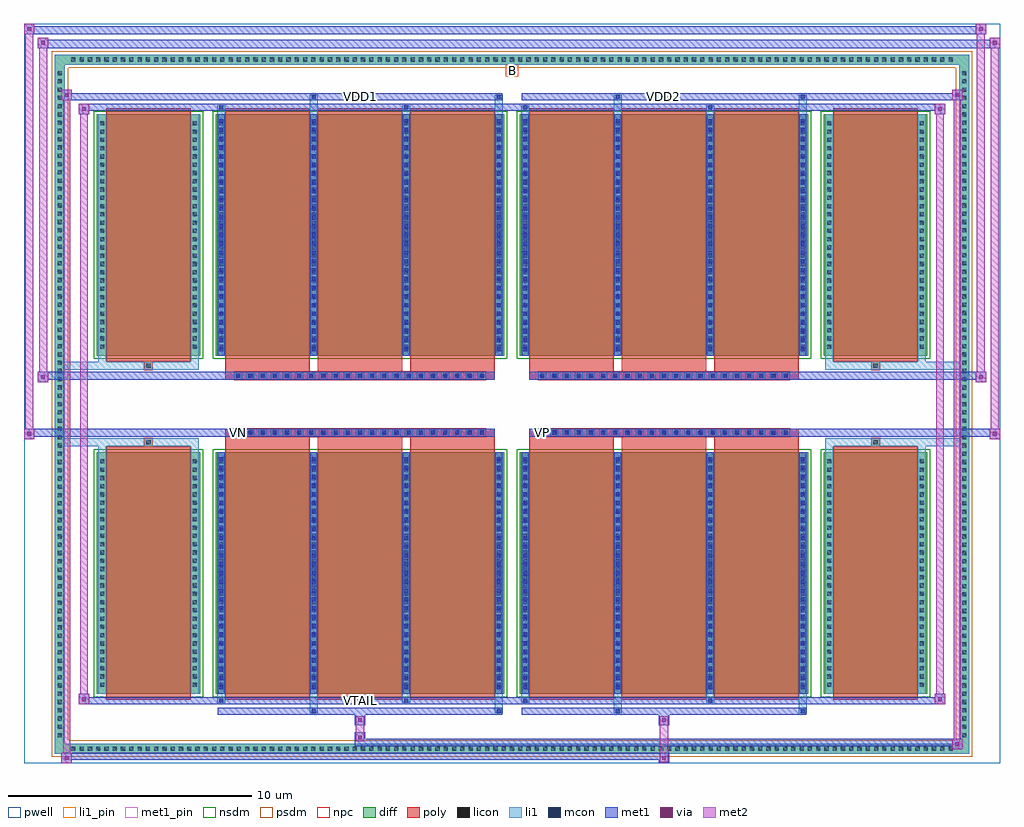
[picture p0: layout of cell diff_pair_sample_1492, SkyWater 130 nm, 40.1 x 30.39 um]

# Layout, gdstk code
import gdstk
lib = gdstk.Library(unit=1e-6, precision=5e-09)
def R(c, l, rs):  # rectangles x0, y0, x1, y1
    for r in rs: c.add(gdstk.rectangle(r[:2], r[2:], *l))
def A(c, l, x, y, w, h, nx, ny, dx, dy):  # array of equal rectangles
    R(c, l, [(x+i*dx, y+j*dy, x+i*dx+w, y+j*dy+h) for i in range(nx) for j in range(ny)])
def P(c, l, *ps):  # polygons
    for p in ps: c.add(gdstk.Polygon(p, *l))
pwell = (64, 44)
diff = (65, 20)
poly = (66, 20)
licon = (66, 44)
li1_pin = (67, 16)
li1 = (67, 20)
mcon = (67, 44)
met1_pin = (68, 16)
met1 = (68, 20)
via = (68, 44)
met2 = (69, 20)
nsdm = (93, 44)
psdm = (94, 20)
npc = (95, 20)

diff_pair_sample_1492 = lib.new_cell('diff_pair_sample_1492')
R(diff_pair_sample_1492, pwell, [(-20.05,-14.76,20.05,15.63), (-17.37,-12.95,-0.01,-0.805), (0.01,-12.95,17.37,-0.805), (-17.37,0.805,-0.01,12.95), (0.01,0.805,17.37,12.95)])
A(diff_pair_sample_1492, diff, -18.225, -14.36, 0.41, 0.41, 107, 2, 0.34, 28.31)
A(diff_pair_sample_1492, diff, -18.78, -13.805, 0.41, 0.41, 1, 81, 0, 0.34)
A(diff_pair_sample_1492, diff, 18.37, -13.805, 0.41, 0.41, 1, 81, 0, 0.34)
R(diff_pair_sample_1492, diff, [(-18.225,-14.36,18.225,-13.95), (-18.78,-13.805,-18.37,13.805), (18.37,-13.805,18.78,13.805), (-17.06,-11.905,-12.81,-1.985), (-12.17,-11.905,-0.32,-1.985), (0.32,-11.905,12.17,-1.985), (12.81,-11.905,17.06,-1.985), (-17.06,1.985,-12.81,11.905), (-12.17,1.985,-0.32,11.905), (0.32,1.985,12.17,11.905), (12.81,1.985,17.06,11.905), (-18.225,13.95,18.225,14.36)])
P(diff_pair_sample_1492, diff, [(18.78,14.36),(-18.78,14.36),(-18.78,-13.95),(-18.37,-13.95),(-18.37,13.95),(18.37,13.95),(18.37,-13.95),(-18.37,-13.95),(-18.78,-13.95),(-18.78,-14.36),(18.78,-14.36)])
A(diff_pair_sample_1492, poly, -11.78, -12.155, 3.47, 10.42, 3, 2, 3.8, 13.89)
A(diff_pair_sample_1492, poly, 0.71, -12.155, 3.47, 10.42, 3, 2, 3.8, 13.89)
A(diff_pair_sample_1492, poly, -11.78, -1.735, 3.47, 0.4, 3, 2, 3.8, 3.07)
A(diff_pair_sample_1492, poly, 0.71, -1.735, 3.47, 0.4, 3, 2, 3.8, 3.07)
A(diff_pair_sample_1492, poly, -11.41, -1.335, 0.33, 0.33, 21, 2, 0.5, 2.34)
A(diff_pair_sample_1492, poly, 1.08, -1.335, 0.33, 0.33, 21, 2, 0.5, 2.34)
R(diff_pair_sample_1492, poly, [(-16.67,-12.155,-13.2,-1.735), (13.2,-12.155,16.67,-1.735), (-15.1,-1.735,-14.77,-1.405), (-15.1,-1.735,-14.77,-1.405), (14.77,-1.735,15.1,-1.405), (14.77,-1.735,15.1,-1.405), (-11.78,-1.335,-0.71,-1.005), (0.71,-1.335,11.78,-1.005), (-11.78,1.005,-0.71,1.335), (0.71,1.005,11.78,1.335), (-15.1,1.405,-14.77,1.735), (-15.1,1.405,-14.77,1.735), (14.77,1.405,15.1,1.735), (14.77,1.405,15.1,1.735), (-16.67,1.735,-13.2,12.155), (13.2,1.735,16.67,12.155)])
A(diff_pair_sample_1492, licon, -18.105, -14.24, 0.17, 0.17, 107, 2, 0.34, 28.31)
A(diff_pair_sample_1492, licon, -18.66, -13.685, 0.17, 0.17, 1, 81, 0, 0.34)
A(diff_pair_sample_1492, licon, 18.49, -13.685, 0.17, 0.17, 1, 81, 0, 0.34)
A(diff_pair_sample_1492, licon, -16.92, -11.62, 0.17, 0.17, 1, 28, 0, 0.34)
A(diff_pair_sample_1492, licon, -13.12, -11.62, 0.17, 0.17, 1, 28, 0, 0.34)
A(diff_pair_sample_1492, licon, -12.03, -11.62, 0.17, 0.17, 4, 28, 3.8, 0.34)
A(diff_pair_sample_1492, licon, 0.46, -11.62, 0.17, 0.17, 4, 28, 3.8, 0.34)
A(diff_pair_sample_1492, licon, 12.95, -11.62, 0.17, 0.17, 1, 28, 0, 0.34)
A(diff_pair_sample_1492, licon, 16.75, -11.62, 0.17, 0.17, 1, 28, 0, 0.34)
A(diff_pair_sample_1492, licon, -11.33, -1.255, 0.17, 0.17, 21, 2, 0.5, 2.34)
A(diff_pair_sample_1492, licon, 1.16, -1.255, 0.17, 0.17, 21, 2, 0.5, 2.34)
A(diff_pair_sample_1492, licon, -16.92, 2.27, 0.17, 0.17, 1, 28, 0, 0.34)
A(diff_pair_sample_1492, licon, -13.12, 2.27, 0.17, 0.17, 1, 28, 0, 0.34)
A(diff_pair_sample_1492, licon, -12.03, 2.27, 0.17, 0.17, 4, 28, 3.8, 0.34)
A(diff_pair_sample_1492, licon, 0.46, 2.27, 0.17, 0.17, 4, 28, 3.8, 0.34)
A(diff_pair_sample_1492, licon, 12.95, 2.27, 0.17, 0.17, 1, 28, 0, 0.34)
A(diff_pair_sample_1492, licon, 16.75, 2.27, 0.17, 0.17, 1, 28, 0, 0.34)
R(diff_pair_sample_1492, licon, [(-15.02,-1.655,-14.85,-1.485), (14.85,-1.655,15.02,-1.485), (-15.02,1.485,-14.85,1.655), (14.85,1.485,15.02,1.655)])
R(diff_pair_sample_1492, li1_pin, [(-0.25,13.45,0.25,13.95)])
A(diff_pair_sample_1492, li1, -18.185, -14.32, 0.33, 0.33, 107, 2, 0.34, 28.31)
A(diff_pair_sample_1492, li1, -18.74, -13.765, 0.33, 0.33, 1, 81, 0, 0.34)
A(diff_pair_sample_1492, li1, 18.41, -13.765, 0.33, 0.33, 1, 81, 0, 0.34)
A(diff_pair_sample_1492, li1, -12.11, -11.905, 0.33, 9.92, 4, 2, 3.8, 13.89)
A(diff_pair_sample_1492, li1, 0.38, -11.905, 0.33, 9.92, 4, 2, 3.8, 13.89)
A(diff_pair_sample_1492, li1, -12.03, -11.71, 0.17, 0.17, 4, 27, 3.8, 0.36)
A(diff_pair_sample_1492, li1, -12.03, -11.71, 0.17, 9.53, 4, 2, 3.8, 13.89)
A(diff_pair_sample_1492, li1, 0.46, -11.71, 0.17, 0.17, 4, 27, 3.8, 0.36)
A(diff_pair_sample_1492, li1, 0.46, -11.71, 0.17, 9.53, 4, 2, 3.8, 13.89)
A(diff_pair_sample_1492, li1, -17, -11.7, 0.33, 0.33, 1, 28, 0, 0.34)
A(diff_pair_sample_1492, li1, -13.2, -11.7, 0.33, 0.33, 1, 28, 0, 0.34)
A(diff_pair_sample_1492, li1, -12.11, -11.7, 0.33, 0.33, 4, 28, 3.8, 0.34)
A(diff_pair_sample_1492, li1, 0.38, -11.7, 0.33, 0.33, 4, 28, 3.8, 0.34)
A(diff_pair_sample_1492, li1, 12.87, -11.7, 0.33, 0.33, 1, 28, 0, 0.34)
A(diff_pair_sample_1492, li1, 16.67, -11.7, 0.33, 0.33, 1, 28, 0, 0.34)
A(diff_pair_sample_1492, li1, -11.41, -1.335, 0.33, 0.33, 21, 2, 0.5, 2.34)
A(diff_pair_sample_1492, li1, 1.08, -1.335, 0.33, 0.33, 21, 2, 0.5, 2.34)
A(diff_pair_sample_1492, li1, -12.03, 2.18, 0.17, 0.17, 4, 27, 3.8, 0.36)
A(diff_pair_sample_1492, li1, 0.46, 2.18, 0.17, 0.17, 4, 27, 3.8, 0.36)
A(diff_pair_sample_1492, li1, -17, 2.19, 0.33, 0.33, 1, 28, 0, 0.34)
A(diff_pair_sample_1492, li1, -13.2, 2.19, 0.33, 0.33, 1, 28, 0, 0.34)
A(diff_pair_sample_1492, li1, -12.11, 2.19, 0.33, 0.33, 4, 28, 3.8, 0.34)
A(diff_pair_sample_1492, li1, 0.38, 2.19, 0.33, 0.33, 4, 28, 3.8, 0.34)
A(diff_pair_sample_1492, li1, 12.87, 2.19, 0.33, 0.33, 1, 28, 0, 0.34)
A(diff_pair_sample_1492, li1, 16.67, 2.19, 0.33, 0.33, 1, 28, 0, 0.34)
R(diff_pair_sample_1492, li1, [(-18.78,-14.36,-18.37,-13.95), (-18.78,-14.36,-18.37,-13.95), (-18.37,-14.36,18.37,-13.95), (18.37,-14.36,18.78,-13.95), (18.37,-14.36,18.78,-13.95), (-18.78,-13.95,-18.37,13.95), (18.37,-13.95,18.78,13.95), (-8.31,-12.71,-7.98,-11.905), (-8.23,-12.71,-8.06,-12.54), (-0.71,-12.71,-0.38,-11.905), (-0.63,-12.71,-0.46,-12.54), (4.18,-12.71,4.51,-11.905), (4.26,-12.71,4.43,-12.54), (11.78,-12.71,12.11,-11.905), (11.86,-12.71,12.03,-12.54), (-12.11,-12.28,-11.78,-11.905), (-12.03,-12.28,-11.86,-12.11), (-4.51,-12.28,-4.18,-11.905), (-4.43,-12.28,-4.26,-12.11), (0.38,-12.28,0.71,-11.905), (0.46,-12.28,0.63,-12.11), (7.98,-12.28,8.31,-11.905), (8.06,-12.28,8.23,-12.11), (-17,-11.905,-16.67,-1.985), (-13.2,-11.905,-12.87,-1.985), (12.87,-11.905,13.2,-1.985), (16.67,-11.905,17,-1.985), (-17,-1.985,-16.67,-1.405), (-13.2,-1.985,-12.87,-1.405), (12.87,-1.985,13.2,-1.405), (16.67,-1.985,17,-1.405), (-18.78,-1.735,-15.1,-1.405), (-17,-1.735,-15.1,-1.405), (-15.1,-1.735,-14.77,-1.405), (-14.77,-1.735,-12.87,-1.405), (12.87,-1.735,14.77,-1.405), (14.77,-1.735,15.1,-1.405), (14.77,-1.735,18.78,-1.405), (15.1,-1.735,17,-1.405), (-18.78,1.405,-15.1,1.735), (-17,1.405,-15.1,1.735), (-17,1.405,-16.67,1.985), (-15.1,1.405,-14.77,1.735), (-14.77,1.405,-12.87,1.735), (-13.2,1.405,-12.87,1.985), (12.87,1.405,14.77,1.735), (12.87,1.405,13.2,1.985), (14.77,1.405,15.1,1.735), (14.77,1.405,18.78,1.735), (15.1,1.405,17,1.735), (16.67,1.405,17,1.985), (-17,1.985,-16.67,11.905), (-13.2,1.985,-12.87,11.905), (12.87,1.985,13.2,11.905), (16.67,1.985,17,11.905), (-12.11,11.905,-11.78,12.28), (-8.31,11.905,-7.98,12.71), (-4.51,11.905,-4.18,12.28), (-0.71,11.905,-0.38,12.71), (0.38,11.905,0.71,12.28), (4.18,11.905,4.51,12.71), (7.98,11.905,8.31,12.28), (11.78,11.905,12.11,12.71), (-12.03,12.11,-11.86,12.28), (-4.43,12.11,-4.26,12.28), (0.46,12.11,0.63,12.28), (8.06,12.11,8.23,12.28), (-8.23,12.54,-8.06,12.71), (-0.63,12.54,-0.46,12.71), (4.26,12.54,4.43,12.71), (11.86,12.54,12.03,12.71), (-18.78,13.95,-18.37,14.36), (-18.78,13.95,-18.37,14.36), (-18.37,13.95,18.37,14.36), (18.37,13.95,18.78,14.36), (18.37,13.95,18.78,14.36)])
A(diff_pair_sample_1492, mcon, -12.03, -11.71, 0.17, 0.17, 4, 27, 3.8, 0.36)
A(diff_pair_sample_1492, mcon, 0.46, -11.71, 0.17, 0.17, 4, 27, 3.8, 0.36)
A(diff_pair_sample_1492, mcon, -11.33, -1.255, 0.17, 0.17, 21, 2, 0.5, 2.34)
A(diff_pair_sample_1492, mcon, 1.16, -1.255, 0.17, 0.17, 21, 2, 0.5, 2.34)
A(diff_pair_sample_1492, mcon, -12.03, 2.18, 0.17, 0.17, 4, 27, 3.8, 0.36)
A(diff_pair_sample_1492, mcon, 0.46, 2.18, 0.17, 0.17, 4, 27, 3.8, 0.36)
R(diff_pair_sample_1492, mcon, [(-8.23,-12.71,-8.06,-12.54), (-0.63,-12.71,-0.46,-12.54), (4.26,-12.71,4.43,-12.54), (11.86,-12.71,12.03,-12.54), (-12.03,-12.28,-11.86,-12.11), (-4.43,-12.28,-4.26,-12.11), (0.46,-12.28,0.63,-12.11), (8.06,-12.28,8.23,-12.11), (-12.03,12.11,-11.86,12.28), (-4.43,12.11,-4.26,12.28), (0.46,12.11,0.63,12.28), (8.06,12.11,8.23,12.28), (-8.23,12.54,-8.06,12.71), (-0.63,12.54,-0.46,12.71), (4.26,12.54,4.43,12.71), (11.86,12.54,12.03,12.71)])
R(diff_pair_sample_1492, met1_pin, [(-6.38,-12.32,-6.11,-12.05), (-11.38,-1.295,-11.11,-1.025), (1.11,-1.295,1.38,-1.025), (-6.38,12.5,-6.11,12.77), (6.11,12.5,6.38,12.77)])
A(diff_pair_sample_1492, met1, -12.09, -11.905, 0.29, 9.92, 4, 2, 3.8, 13.89)
A(diff_pair_sample_1492, met1, 0.4, -11.905, 0.29, 9.92, 4, 2, 3.8, 13.89)
A(diff_pair_sample_1492, met1, -12.09, -11.77, 0.29, 0.29, 4, 27, 3.8, 0.36)
A(diff_pair_sample_1492, met1, 0.4, -11.77, 0.29, 0.29, 4, 27, 3.8, 0.36)
A(diff_pair_sample_1492, met1, -11.39, -1.315, 0.29, 0.29, 21, 2, 0.5, 2.34)
A(diff_pair_sample_1492, met1, 1.1, -1.315, 0.29, 0.29, 21, 2, 0.5, 2.34)
A(diff_pair_sample_1492, met1, -12.09, 2.12, 0.29, 0.29, 4, 27, 3.8, 0.36)
A(diff_pair_sample_1492, met1, 0.4, 2.12, 0.29, 0.29, 4, 27, 3.8, 0.36)
R(diff_pair_sample_1492, met1, [(-18.51,-14.76,-18.08,-14.33), (6.03,-14.76,6.46,-14.33), (-18.51,-14.62,6.46,-14.33), (18.08,-14.19,18.51,-13.76), (-6.46,-14.05,18.51,-13.76), (-6.46,-13.91,-6.03,-13.48), (-6.46,-13.2,-6.03,-12.77), (6.03,-13.2,6.46,-12.77), (-12.09,-12.77,-0.4,-12.48), (-8.29,-12.77,-8,-12.48), (-0.69,-12.77,-0.4,-12.48), (0.4,-12.77,12.09,-12.48), (4.2,-12.77,4.49,-12.48), (11.8,-12.77,12.09,-12.48), (-17.8,-12.34,-17.37,-11.91), (-17.8,-12.34,-12.09,-12.05), (-12.09,-12.34,-11.8,-12.05), (-12.09,-12.34,-0.4,-12.05), (-4.49,-12.34,-4.2,-12.05), (-0.4,-12.34,0.4,-12.05), (0.4,-12.34,0.69,-12.05), (0.4,-12.34,12.09,-12.05), (8,-12.34,8.29,-12.05), (12.09,-12.34,17.8,-12.05), (17.37,-12.34,17.8,-11.91), (-20.05,-1.435,-19.62,-1.005), (19.62,-1.435,20.05,-1.005), (-20.05,-1.335,-0.71,-1.005), (-11.78,-1.335,-0.71,-1.005), (0.71,-1.335,11.78,-1.005), (0.71,-1.335,20.05,-1.005), (-19.48,0.905,-19.05,1.335), (19.05,0.905,19.48,1.335), (-19.48,1.005,-11.78,1.335), (-11.78,1.005,-0.71,1.335), (0.71,1.005,11.78,1.335), (11.78,1.005,19.48,1.335), (-17.8,11.91,-17.37,12.34), (17.37,11.91,17.8,12.34), (-17.8,12.05,-12.09,12.34), (-12.09,12.05,-11.8,12.34), (-12.09,12.05,-0.4,12.34), (-4.49,12.05,-4.2,12.34), (-0.4,12.05,0.4,12.34), (0.4,12.05,0.69,12.34), (0.4,12.05,12.09,12.34), (8,12.05,8.29,12.34), (12.09,12.05,17.8,12.34), (-18.51,12.48,-18.08,12.91), (-18.51,12.48,-12.09,12.77), (-12.09,12.48,-0.4,12.77), (-8.29,12.48,-8,12.77), (-0.69,12.48,-0.4,12.77), (0.4,12.48,12.09,12.77), (4.2,12.48,4.49,12.77), (11.8,12.48,12.09,12.77), (12.09,12.48,18.51,12.77), (18.08,12.48,18.51,12.91), (-19.48,14.63,-19.05,15.06), (-19.48,14.63,-17.37,14.96), (-17.37,14.63,17.37,14.96), (17.37,14.63,20.05,14.96), (19.62,14.63,20.05,15.06), (-20.05,15.2,-19.62,15.63), (-20.05,15.2,-17.37,15.53), (-17.37,15.2,17.37,15.53), (17.37,15.2,19.48,15.53), (19.05,15.2,19.48,15.63)])
R(diff_pair_sample_1492, via, [(-18.37,-14.62,-18.22,-14.47), (6.17,-14.62,6.32,-14.47), (18.22,-14.05,18.37,-13.9), (-6.32,-13.77,-6.17,-13.62), (-6.32,-13.06,-6.17,-12.91), (6.17,-13.06,6.32,-12.91), (-17.66,-12.2,-17.51,-12.05), (17.51,-12.2,17.66,-12.05), (-19.91,-1.295,-19.76,-1.145), (19.76,-1.295,19.91,-1.145), (-19.34,1.045,-19.19,1.195), (19.19,1.045,19.34,1.195), (-17.66,12.05,-17.51,12.2), (17.51,12.05,17.66,12.2), (-18.37,12.62,-18.22,12.77), (18.22,12.62,18.37,12.77), (-19.34,14.77,-19.19,14.92), (19.76,14.77,19.91,14.92), (-19.91,15.34,-19.76,15.49), (19.19,15.34,19.34,15.49)])
R(diff_pair_sample_1492, met2, [(-18.51,-14.76,-18.08,-14.33), (-18.44,-14.76,-18.15,12.91), (-18.15,-14.76,-18.08,-14.33), (-18.46,-14.71,-18.13,-14.38), (6.08,-14.71,6.41,-14.38), (6.08,-14.38,6.41,-13.15), (18.08,-14.19,18.51,-13.76), (18.15,-14.19,18.44,12.91), (18.44,-14.19,18.51,-13.76), (18.13,-14.14,18.46,-13.81), (-6.41,-13.86,-6.08,-13.53), (-6.41,-13.53,-6.08,-13.15), (-6.41,-13.15,-6.08,-12.82), (6.08,-13.15,6.41,-12.82), (-17.8,-12.34,-17.37,-11.91), (-17.73,-12.34,-17.44,12.34), (-17.44,-12.34,-17.37,-11.91), (17.37,-12.34,17.8,-11.91), (17.44,-12.34,17.73,12.34), (17.73,-12.34,17.8,-11.91), (-17.75,-12.29,-17.42,-11.96), (17.42,-12.29,17.75,-11.96), (-20.05,-1.435,-19.62,-1.005), (-20,-1.435,-19.67,15.63), (-19.67,-1.435,-19.62,-1.005), (19.62,-1.435,20.05,-1.005), (19.67,-1.435,20,15.06), (20,-1.435,20.05,-1.005), (-20,-1.385,-19.67,-1.055), (19.67,-1.385,20,-1.055), (-19.48,0.905,-19.05,1.335), (-19.43,0.905,-19.1,15.06), (-19.1,0.905,-19.05,1.335), (19.05,0.905,19.48,1.335), (19.1,0.905,19.43,15.63), (19.43,0.905,19.48,1.335), (-19.43,0.955,-19.1,1.285), (19.1,0.955,19.43,1.285), (-17.8,11.91,-17.37,12.34), (-17.44,11.91,-17.37,12.34), (17.37,11.91,17.8,12.34), (17.73,11.91,17.8,12.34), (-17.75,11.96,-17.42,12.29), (17.42,11.96,17.75,12.29), (-18.51,12.48,-18.08,12.91), (-18.15,12.48,-18.08,12.91), (18.08,12.48,18.51,12.91), (18.44,12.48,18.51,12.91), (-18.46,12.53,-18.13,12.86), (18.13,12.53,18.46,12.86), (-19.48,14.63,-19.05,15.06), (-19.1,14.63,-19.05,15.06), (19.62,14.63,20.05,15.06), (20,14.63,20.05,15.06), (-19.43,14.68,-19.1,15.01), (19.67,14.68,20,15.01), (-20.05,15.2,-19.62,15.63), (-19.67,15.2,-19.62,15.63), (19.05,15.2,19.48,15.63), (19.43,15.2,19.48,15.63), (-20,15.25,-19.67,15.58), (19.1,15.25,19.43,15.58)])
R(diff_pair_sample_1492, nsdm, [(-17.19,-12.035,-12.68,-1.855), (-12.3,-12.035,-0.19,-1.855), (0.19,-12.035,12.3,-1.855), (12.68,-12.035,17.19,-1.855), (-17.19,1.855,-12.68,12.035), (-12.3,1.855,-0.19,12.035), (0.19,1.855,12.3,12.035), (12.68,1.855,17.19,12.035)])
P(diff_pair_sample_1492, psdm, [(18.91,14.49),(-18.91,14.49),(-18.91,-13.82),(-18.24,-13.82),(-18.24,13.82),(18.24,13.82),(18.24,-13.82),(-18.24,-13.82),(-18.91,-13.82),(-18.91,-14.49),(18.91,-14.49)])
A(diff_pair_sample_1492, npc, -11.43, -1.355, 0.37, 0.37, 21, 2, 0.5, 2.34)
A(diff_pair_sample_1492, npc, 1.06, -1.355, 0.37, 0.37, 21, 2, 0.5, 2.34)
R(diff_pair_sample_1492, npc, [(-15.12,-1.755,-14.75,-1.385), (14.75,-1.755,15.12,-1.385), (-11.43,-1.355,-10.56,-0.985), (-11.43,-1.355,-10.56,-0.985), (-10.93,-1.355,-10.06,-0.985), (-10.93,-1.355,-10.06,-0.985), (-10.43,-1.355,-9.56,-0.985), (-10.43,-1.355,-9.56,-0.985), (-9.93,-1.355,-9.06,-0.985), (-9.93,-1.355,-9.06,-0.985), (-9.43,-1.355,-8.56,-0.985), (-9.43,-1.355,-8.56,-0.985), (-8.93,-1.355,-8.06,-0.985), (-8.93,-1.355,-8.06,-0.985), (-8.43,-1.355,-7.56,-0.985), (-8.43,-1.355,-7.56,-0.985), (-7.93,-1.355,-7.06,-0.985), (-7.93,-1.355,-7.06,-0.985), (-7.43,-1.355,-6.56,-0.985), (-7.43,-1.355,-6.56,-0.985), (-6.93,-1.355,-6.06,-0.985), (-6.93,-1.355,-6.06,-0.985), (-6.43,-1.355,-5.56,-0.985), (-6.43,-1.355,-5.56,-0.985), (-5.93,-1.355,-5.06,-0.985), (-5.93,-1.355,-5.06,-0.985), (-5.43,-1.355,-4.56,-0.985), (-5.43,-1.355,-4.56,-0.985), (-4.93,-1.355,-4.06,-0.985), (-4.93,-1.355,-4.06,-0.985), (-4.43,-1.355,-3.56,-0.985), (-4.43,-1.355,-3.56,-0.985), (-3.93,-1.355,-3.06,-0.985), (-3.93,-1.355,-3.06,-0.985), (-3.43,-1.355,-2.56,-0.985), (-3.43,-1.355,-2.56,-0.985), (-2.93,-1.355,-2.06,-0.985), (-2.93,-1.355,-2.06,-0.985), (-2.43,-1.355,-1.56,-0.985), (-2.43,-1.355,-1.56,-0.985), (-1.93,-1.355,-1.06,-0.985), (-1.93,-1.355,-1.06,-0.985), (1.06,-1.355,1.93,-0.985), (1.06,-1.355,1.93,-0.985), (1.56,-1.355,2.43,-0.985), (1.56,-1.355,2.43,-0.985), (2.06,-1.355,2.93,-0.985), (2.06,-1.355,2.93,-0.985), (2.56,-1.355,3.43,-0.985), (2.56,-1.355,3.43,-0.985), (3.06,-1.355,3.93,-0.985), (3.06,-1.355,3.93,-0.985), (3.56,-1.355,4.43,-0.985), (3.56,-1.355,4.43,-0.985), (4.06,-1.355,4.93,-0.985), (4.06,-1.355,4.93,-0.985), (4.56,-1.355,5.43,-0.985), (4.56,-1.355,5.43,-0.985), (5.06,-1.355,5.93,-0.985), (5.06,-1.355,5.93,-0.985), (5.56,-1.355,6.43,-0.985), (5.56,-1.355,6.43,-0.985), (6.06,-1.355,6.93,-0.985), (6.06,-1.355,6.93,-0.985), (6.56,-1.355,7.43,-0.985), (6.56,-1.355,7.43,-0.985), (7.06,-1.355,7.93,-0.985), (7.06,-1.355,7.93,-0.985), (7.56,-1.355,8.43,-0.985), (7.56,-1.355,8.43,-0.985), (8.06,-1.355,8.93,-0.985), (8.06,-1.355,8.93,-0.985), (8.56,-1.355,9.43,-0.985), (8.56,-1.355,9.43,-0.985), (9.06,-1.355,9.93,-0.985), (9.06,-1.355,9.93,-0.985), (9.56,-1.355,10.43,-0.985), (9.56,-1.355,10.43,-0.985), (10.06,-1.355,10.93,-0.985), (10.06,-1.355,10.93,-0.985), (10.56,-1.355,11.43,-0.985), (10.56,-1.355,11.43,-0.985), (-11.43,0.985,-10.56,1.355), (-11.43,0.985,-10.56,1.355), (-10.93,0.985,-10.06,1.355), (-10.93,0.985,-10.06,1.355), (-10.43,0.985,-9.56,1.355), (-10.43,0.985,-9.56,1.355), (-9.93,0.985,-9.06,1.355), (-9.93,0.985,-9.06,1.355), (-9.43,0.985,-8.56,1.355), (-9.43,0.985,-8.56,1.355), (-8.93,0.985,-8.06,1.355), (-8.93,0.985,-8.06,1.355), (-8.43,0.985,-7.56,1.355), (-8.43,0.985,-7.56,1.355), (-7.93,0.985,-7.06,1.355), (-7.93,0.985,-7.06,1.355), (-7.43,0.985,-6.56,1.355), (-7.43,0.985,-6.56,1.355), (-6.93,0.985,-6.06,1.355), (-6.93,0.985,-6.06,1.355), (-6.43,0.985,-5.56,1.355), (-6.43,0.985,-5.56,1.355), (-5.93,0.985,-5.06,1.355), (-5.93,0.985,-5.06,1.355), (-5.43,0.985,-4.56,1.355), (-5.43,0.985,-4.56,1.355), (-4.93,0.985,-4.06,1.355), (-4.93,0.985,-4.06,1.355), (-4.43,0.985,-3.56,1.355), (-4.43,0.985,-3.56,1.355), (-3.93,0.985,-3.06,1.355), (-3.93,0.985,-3.06,1.355), (-3.43,0.985,-2.56,1.355), (-3.43,0.985,-2.56,1.355), (-2.93,0.985,-2.06,1.355), (-2.93,0.985,-2.06,1.355), (-2.43,0.985,-1.56,1.355), (-2.43,0.985,-1.56,1.355), (-1.93,0.985,-1.06,1.355), (-1.93,0.985,-1.06,1.355), (1.06,0.985,1.93,1.355), (1.06,0.985,1.93,1.355), (1.56,0.985,2.43,1.355), (1.56,0.985,2.43,1.355), (2.06,0.985,2.93,1.355), (2.06,0.985,2.93,1.355), (2.56,0.985,3.43,1.355), (2.56,0.985,3.43,1.355), (3.06,0.985,3.93,1.355), (3.06,0.985,3.93,1.355), (3.56,0.985,4.43,1.355), (3.56,0.985,4.43,1.355), (4.06,0.985,4.93,1.355), (4.06,0.985,4.93,1.355), (4.56,0.985,5.43,1.355), (4.56,0.985,5.43,1.355), (5.06,0.985,5.93,1.355), (5.06,0.985,5.93,1.355), (5.56,0.985,6.43,1.355), (5.56,0.985,6.43,1.355), (6.06,0.985,6.93,1.355), (6.06,0.985,6.93,1.355), (6.56,0.985,7.43,1.355), (6.56,0.985,7.43,1.355), (7.06,0.985,7.93,1.355), (7.06,0.985,7.93,1.355), (7.56,0.985,8.43,1.355), (7.56,0.985,8.43,1.355), (8.06,0.985,8.93,1.355), (8.06,0.985,8.93,1.355), (8.56,0.985,9.43,1.355), (8.56,0.985,9.43,1.355), (9.06,0.985,9.93,1.355), (9.06,0.985,9.93,1.355), (9.56,0.985,10.43,1.355), (9.56,0.985,10.43,1.355), (10.06,0.985,10.93,1.355), (10.06,0.985,10.93,1.355), (10.56,0.985,11.43,1.355), (10.56,0.985,11.43,1.355), (-15.12,1.385,-14.75,1.755), (14.75,1.385,15.12,1.755)])
diff_pair_sample_1492.add(gdstk.Label('VTAIL', (-6.245,-12.185), layer=68, texttype=5))
diff_pair_sample_1492.add(gdstk.Label('VN', (-11.245,-1.16), layer=68, texttype=5))
diff_pair_sample_1492.add(gdstk.Label('VP', (1.245,-1.16), layer=68, texttype=5))
diff_pair_sample_1492.add(gdstk.Label('B', (0,13.7), layer=67, texttype=5))
diff_pair_sample_1492.add(gdstk.Label('VDD2', (6.245,12.635), layer=68, texttype=5))
diff_pair_sample_1492.add(gdstk.Label('VDD1', (-6.245,12.635), layer=68, texttype=5))

lib.write_gds('diff_pair_sample_1492.gds')
